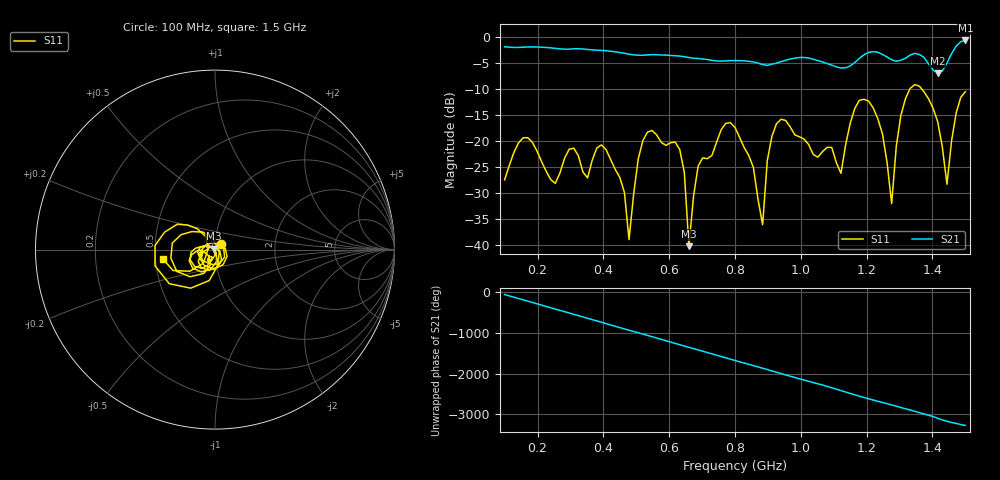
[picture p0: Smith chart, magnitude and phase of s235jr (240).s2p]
! NanoVNA-App
! Date: 2025-09-25 15:06:02
! Start: 100MHz Stop: 1,5GHz Points: 101
! S-Parameter data: F S11 S21 S12 S22
# Hz S RI R 50
!  Frequency  S11_Real  S11_Imag  S21_Real  S21_Imag  S12_Real  S12_Imag  S22_Real  S22_Imag
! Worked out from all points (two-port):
!   101 points, 100 MHz to 1.5 GHz, reference 50 ohm
!   highest |S21| = -0.75 dB at 1.5 GHz (marker M1); lowest = -7.1 dB at 1.416 GHz (marker M2)
!   |S21| within 3 dB of the highest: start of sweep to 632.4 MHz; 1.187 GHz to 1.257 GHz (70.66 MHz wide, 5.78 % of centre) (the widest 2 of 4)
!   lowest |S11| = -40.2 dB at 660 MHz (marker M3), VSWR 1.02, Z = 49.2 + j0.531 ohm
!   |S11| at or under -10 dB: start of sweep to 1.332 GHz; 1.367 GHz to end of sweep
!   S12 and S22 are empty: the file has one direction only
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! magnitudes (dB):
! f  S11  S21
! 100 MHz  -27.5  -2.0
! 156 MHz  -19.4  -2.0
! 338 MHz  -26.0  -2.4
! 408 MHz  -21.7  -2.7
! 478 MHz  -38.9  -3.4
! 520 MHz  -20.0  -3.6
! 576 MHz  -20.3  -3.5
! 632 MHz  -21.6  -3.7
! 660 MHz  -40.2  -4.0
! 688 MHz  -24.8  -4.2
! 800 MHz  -17.4  -4.6
! 884 MHz  -36.1  -5.3
! 926 MHz  -16.7  -5.1
! 1.038 GHz  -22.6  -4.4
! 1.122 GHz  -26.2  -6.0
! 1.206 GHz  -12.4  -3.0
! 1.276 GHz  -32.0  -4.5
! 1.304 GHz  -15.1  -4.5
! 1.332 GHz  -10.0  -3.6
! 1.416 GHz  -16.4  -7.1
! 1.444 GHz  -28.3  -5.1
! 1.5 GHz  -10.6  -0.7
